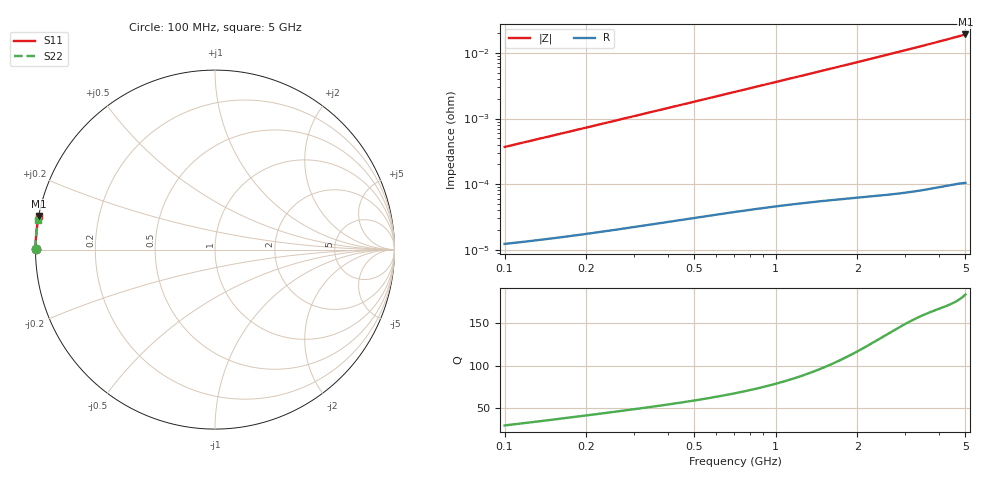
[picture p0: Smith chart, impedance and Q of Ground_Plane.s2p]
! Sonnet Data File
! From: sonnet Version : 18.53-Lite
! From Emgraph Data:
! Data File Written: 04/08/2024 17:53:51
!< HDATE 04/08/2024 17:52:59
!< MDATE 04/08/2024 17:52:59
# GHZ S MA R 50.00000
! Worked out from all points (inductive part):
!   246 points, 100 MHz to 5 GHz, reference 50 ohm
!   read as one part in shunt: L = 580 fH near 120 MHz
!   highest Q = 183 at 5 GHz (marker M1), where L = 608 fH
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0.1  0.9999 179.8  1.473e-05 87.9  1.473e-05 87.9  0.9999 179.8
0.68  0.9998 178.5  9.793e-05 87.8  9.793e-05 87.8  0.9998 178.7
0.7  0.9998 178.5  0.0001008 87.7  0.0001008 87.7  0.9998 178.7
0.8  0.9998 178.3  0.0001152 87.6  0.0001152 87.6  0.9998 178.5
0.92  0.9998 178.0  0.0001324 87.4  0.0001324 87.4  0.9998 178.3
1  0.9997 177.8  0.0001439 87.2  0.0001439 87.2  0.9998 178.1
1.1  0.9997 177.6  0.0001583 87.1  0.0001583 87.1  0.9998 177.9
1.18  0.9997 177.4  0.0001698 86.9  0.0001698 86.9  0.9997 177.8
1.28  0.9997 177.2  0.0001843 86.8  0.0001843 86.8  0.9997 177.6
1.38  0.9997 177.0  0.0001987 86.6  0.0001987 86.6  0.9997 177.4
1.5  0.9997 176.8  0.0002161 86.4  0.0002161 86.4  0.9997 177.2
1.74  0.9996 176.2  0.000251 85.9  0.000251 85.9  0.9997 176.7
1.92  0.9996 175.8  0.0002772 85.6  0.0002772 85.6  0.9997 176.4
2.12  0.9996 175.4  0.0003065 85.2  0.0003065 85.2  0.9996 176.0
2.34  0.9996 174.9  0.000339 84.8  0.000339 84.8  0.9996 175.6
2.56  0.9995 174.5  0.0003716 84.4  0.0003716 84.4  0.9996 175.2
2.94  0.9995 173.6  0.0004287 83.7  0.0004287 83.7  0.9996 174.5
3.38  0.9995 172.7  0.0004959 82.8  0.0004959 82.8  0.9995 173.6
3.78  0.9994 171.8  0.0005582 82.0  0.0005582 82.0  0.9995 172.9
4.2  0.9994 170.9  0.0006252 81.2  0.0006252 81.2  0.9995 172.1
4.58  0.9994 170.1  0.0006873 80.4  0.0006873 80.4  0.9995 171.4
5  0.9993 169.2  0.0007579 79.6  0.0007579 79.6  0.9994 170.6
